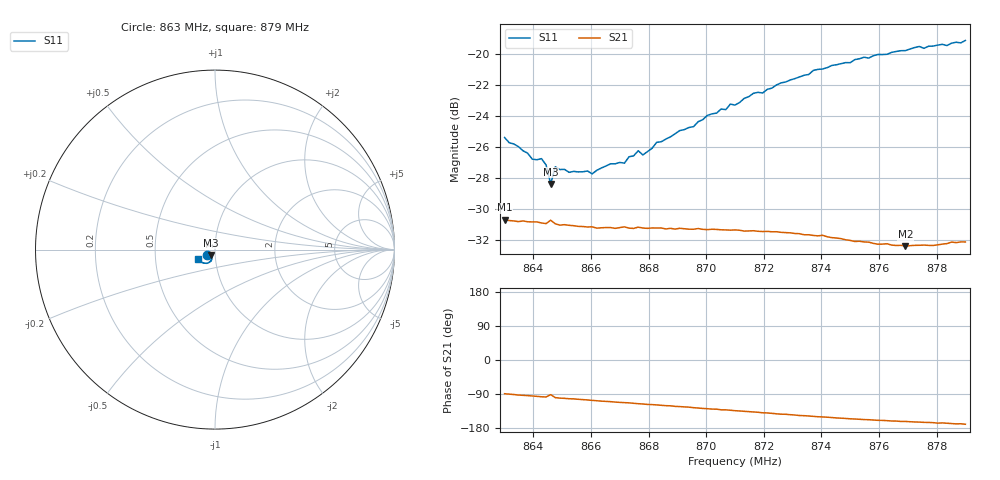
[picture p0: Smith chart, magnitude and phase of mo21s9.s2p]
# HZ S RI R 50
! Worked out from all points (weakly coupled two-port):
!   101 points, 863 MHz to 879 MHz, reference 50 ohm
!   highest |S21| = -30.68 dB at 863 MHz (marker M1); lowest = -32.4 dB at 876.92 MHz (marker M2)
!   lowest |S11| = -28.4 dB at 864.6 MHz (marker M3), VSWR 1.08, Z = 47.5 - j2.8 ohm
!   |S11| at or under -10 dB: start of sweep to end of sweep
!   S12 and S22 are empty: the file has one direction only
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8.63e8  -0.045 -0.0296  0.000524 -0.0292  0 0  0 0
8.6396e8  -0.036 -0.0285  -0.00249 -0.0287  0 0  0 0
8.6428e8  -0.0334 -0.0318  -0.00349 -0.0284  0 0  0 0
8.6444e8  -0.0331 -0.0289  -0.00373 -0.0282  0 0  0 0
8.646e8  -0.0243 -0.0294  -0.000741 -0.0291  0 0  0 0
8.6476e8  -0.0306 -0.0307  -0.00463 -0.028  0 0  0 0
8.6572e8  -0.0241 -0.0341  -0.00698 -0.0269  0 0  0 0
8.6604e8  -0.0216 -0.035  -0.00792 -0.0266  0 0  0 0
8.6668e8  -0.0207 -0.0392  -0.00941 -0.026  0 0  0 0
8.6716e8  -0.0186 -0.0405  -0.0106 -0.0256  0 0  0 0
8.6764e8  -0.0194 -0.0448  -0.0119 -0.025  0 0  0 0
8.678e8  -0.0177 -0.0439  -0.0121 -0.0247  0 0  0 0
8.6844e8  -0.018 -0.049  -0.0136 -0.024  0 0  0 0
8.6956e8  -0.0196 -0.0551  -0.016 -0.0221  0 0  0 0
8.7004e8  -0.0216 -0.0598  -0.0169 -0.0213  0 0  0 0
8.71e8  -0.0239 -0.0643  -0.0188 -0.0196  0 0  0 0
8.7164e8  -0.0283 -0.0694  -0.0197 -0.0184  0 0  0 0
8.7196e8  -0.0305 -0.0686  -0.0203 -0.0175  0 0  0 0
8.7372e8  -0.045 -0.0766  -0.0223 -0.0135  0 0  0 0
8.7644e8  -0.0723 -0.0713  -0.0229 -0.00789  0 0  0 0
8.7692e8  -0.0766 -0.0687  -0.0229 -0.00739  0 0  0 0
8.79e8  -0.0974 -0.0531  -0.0244 -0.00451  0 0  0 0
